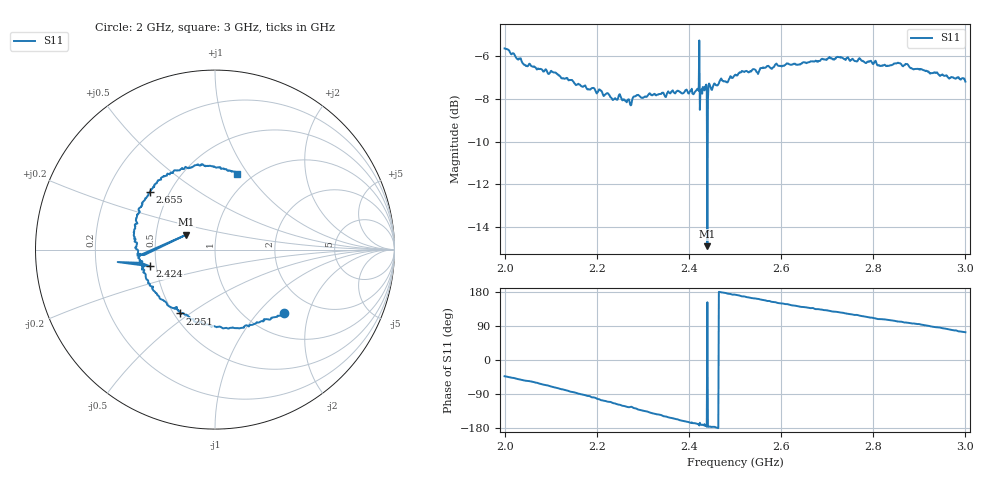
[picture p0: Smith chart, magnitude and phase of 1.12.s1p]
!Agilent Technologies,E8364A,US41440144,A.06.04.32
!Agilent E8364A: A.06.04.32
!Date: Friday, February 02, 2018 10:38:45
!Correction: S22(Full 2 Port(1,2))
!S1P File: Measurement: S22:
# Hz S  dB  R 50
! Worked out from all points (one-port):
!   801 points, 2 GHz to 3 GHz, reference 50 ohm
!   lowest |S11| = -14.9 dB at 2.44 GHz (marker M1), VSWR 1.44, Z = 35.8 + j6.17 ohm
!   |S11| at or under -10 dB: 2.439152 GHz to 2.440892 GHz (1.74 MHz wide, 0.0713 % of centre)
!   S11 on the Smith chart (normalised r, x): 2 GHz: 1.43, -1.41; 2.251 GHz: 0.54, -0.46; 2.424 GHz: 0.46, -0.10; 2.655 GHz: 0.39, +0.33; 3 GHz: 0.86, +0.89
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2e9  -5.62 -42.9
2.045e9  -6.41 -54.6
2.05875e9  -6.46 -56.9
2.105e9  -6.74 -71.4
2.125e9  -7.04 -77.3
2.19125e9  -7.49 -98.6
2.25e9  -7.77 -118.1
2.25125e9  -7.85 -118.6
2.27e9  -8.02 -124.7
2.31e9  -7.85 -136.2
2.375e9  -7.61 -156.4
2.42375e9  -8.51 -165.7
2.42875e9  -7.75 -170.6
2.43375e9  -7.59 -169.3
2.435e9  -7.42 -173.6
2.44e9  -14.91 152.3
2.445e9  -7.32 -175.8
2.44625e9  -7.41 -176.1
2.4475e9  -7.47 -175.6
2.5e9  -6.86 172.4
2.56e9  -6.53 158.8
2.625e9  -6.38 144.0
2.655e9  -6.32 138.5
2.7225e9  -6.02 126.9
2.75e9  -6.21 121.0
2.81125e9  -6.41 108.1
2.875e9  -6.38 98.2
3e9  -7.18 73.4
